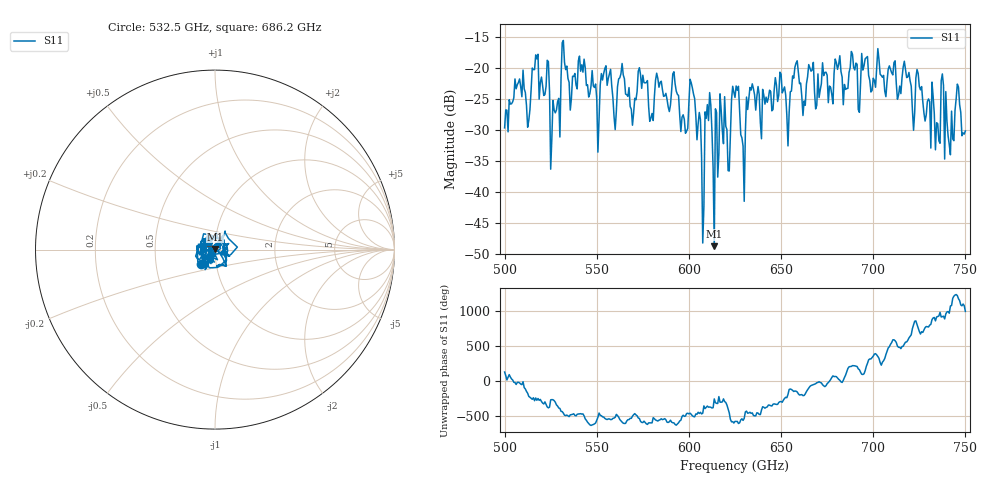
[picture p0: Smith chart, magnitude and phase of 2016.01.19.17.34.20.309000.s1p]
!Created with skrf (http://scikit-rf.org).
# GHz S RI R 50.0
!freq ReS11 ImS11
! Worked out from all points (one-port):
!   401 points, 500 GHz to 750 GHz, reference 50 ohm
!   lowest |S11| = -48.7 dB at 613.8 GHz (marker M1), VSWR 1.01, Z = 49.9 + j0.361 ohm
!   |S11| at or under -10 dB: start of sweep to end of sweep
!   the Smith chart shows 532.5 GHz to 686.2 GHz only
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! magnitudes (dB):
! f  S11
! 500 GHz  -29.7
! 506.9 GHz  -22.7
! 513.1 GHz  -28.4
! 516.9 GHz  -17.9
! 526.2 GHz  -25.3
! 531.2 GHz  -15.9
! 550 GHz  -25.0
! 562.5 GHz  -21.6
! 569.4 GHz  -29.2
! 573.8 GHz  -21.1
! 593.8 GHz  -24.3
! 598.1 GHz  -30.5
! 601.9 GHz  -23.2
! 606.9 GHz  -34.4
! 610.6 GHz  -28.5
! 613.8 GHz  -48.7
! 618.1 GHz  -30.1
! 621.2 GHz  -36.6
! 625 GHz  -24.8
! 629.4 GHz  -32.6
! 633.8 GHz  -23.6
! 653.8 GHz  -32.6
! 656.2 GHz  -21.3
! 687.5 GHz  -19.9
! 718.8 GHz  -21.4
! 735 GHz  -29.0
! 738.1 GHz  -22.9
! 750 GHz  -30.2
